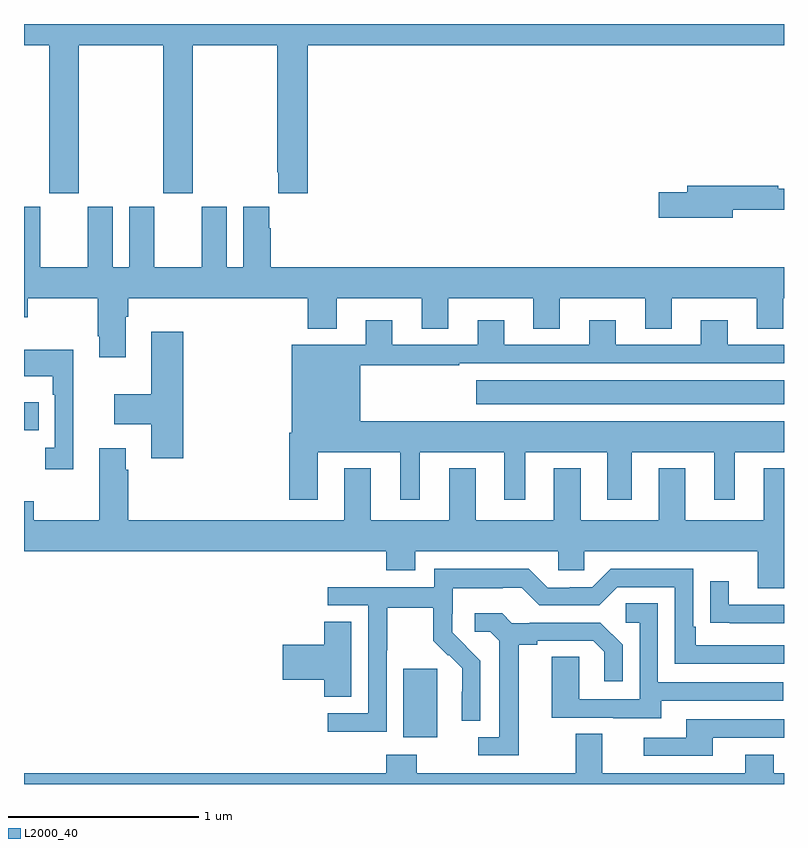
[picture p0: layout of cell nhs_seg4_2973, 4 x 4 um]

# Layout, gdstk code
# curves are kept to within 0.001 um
import gdstk
lib = gdstk.Library(unit=1e-6, precision=1e-09)
def R(c, l, rs):  # rectangles x0, y0, x1, y1
    for r in rs: c.add(gdstk.rectangle(r[:2], r[2:], *l))
def P(c, l, *ps):  # polygons
    for p in ps: c.add(gdstk.Polygon(p, *l))
L2000_40 = (2000, 40)

nhs_seg4_2973 = lib.new_cell('nhs_seg4_2973')
R(nhs_seg4_2973, L2000_40, [(268.997,825.146,269.176,825.507), (267,826.762,267.077,826.909), (269.379,826.898,271,827.026)])
P(nhs_seg4_2973, L2000_40, [(271,828.9),(267,828.9),(267,828.788),(267.133,828.788),(267.133,828.009),(267.288,828.009),(267.288,828.788),(267.733,828.788),(267.733,828.009),(267.888,828.009),(267.888,828.788),(268.333,828.788),(268.333,828.121),(268.337,828.121),(268.337,828.009),(268.493,828.009),(268.493,828.788),(271,828.788)],
  [(270.73,827.922),(271,827.922),(271,828.032),(270.971,828.032),(270.971,828.05),(270.491,828.05),(270.491,828.014),(270.342,828.014),(270.342,827.879),(270.73,827.879)],
  [(268.298,827.825),(268.291,827.825),(268.291,827.938),(268.154,827.938),(268.154,827.62),(268.066,827.62),(268.066,827.938),(267.935,827.938),(267.935,827.62),(267.685,827.62),(267.685,827.938),(267.554,827.938),(267.554,827.62),(267.466,827.62),(267.466,827.938),(267.335,827.938),(267.335,827.62),(267.085,827.62),(267.085,827.938),(267,827.938),(267,827.357),(267.021,827.357),(267.021,827.456),(267.388,827.456),(267.388,827.257),(267.395,827.257),(267.395,827.145),(267.535,827.145),(267.535,827.36),(267.548,827.36),(267.548,827.456),(268.493,827.456),(268.493,827.297),(268.645,827.297),(268.645,827.456),(269.093,827.456),(269.093,827.296),(269.233,827.296),(269.233,827.456),(269.681,827.456),(269.681,827.296),(269.821,827.296),(269.821,827.456),(270.269,827.456),(270.269,827.296),(270.409,827.296),(270.409,827.456),(270.857,827.456),(270.857,827.296),(270.997,827.296),(270.997,827.456),(271,827.456),(271,827.62),(268.298,827.62)],
  [(268.546,826.646),(268.979,826.646),(268.979,826.395),(269.083,826.395),(269.083,826.646),(269.528,826.646),(269.528,826.395),(269.638,826.395),(269.638,826.646),(270.071,826.646),(270.071,826.395),(270.199,826.395),(270.199,826.646),(270.632,826.646),(270.632,826.395),(270.742,826.395),(270.742,826.646),(271,826.646),(271,826.81),(268.771,826.81),(268.771,827.103),(269.291,827.103),(269.291,827.115),(271,827.115),(271,827.211),(270.703,827.211),(270.703,827.341),(270.563,827.341),(270.563,827.211),(270.115,827.211),(270.115,827.341),(269.975,827.341),(269.975,827.211),(269.527,827.211),(269.527,827.341),(269.387,827.341),(269.387,827.211),(268.939,827.211),(268.939,827.341),(268.799,827.341),(268.799,827.212),(268.409,827.212),(268.409,826.75),(268.397,826.75),(268.397,826.395),(268.546,826.395)],
  [(267.839,827.281),(267.671,827.281),(267.671,826.951),(267.474,826.951),(267.474,826.793),(267.671,826.793),(267.671,826.614),(267.839,826.614)],
  [(267.26,827.185),(267,827.185),(267,827.045),(267.15,827.045),(267.15,826.949),(267.162,826.949),(267.162,826.67),(267.111,826.67),(267.111,826.557),(267.26,826.557)],
  [(271,826.561),(270.893,826.561),(270.893,826.288),(270.481,826.288),(270.481,826.561),(270.341,826.561),(270.341,826.288),(269.929,826.288),(269.929,826.561),(269.789,826.561),(269.789,826.288),(269.377,826.288),(269.377,826.561),(269.237,826.561),(269.237,826.288),(268.825,826.288),(268.825,826.561),(268.685,826.561),(268.685,826.288),(267.548,826.288),(267.548,826.553),(267.535,826.553),(267.535,826.666),(267.395,826.666),(267.395,826.288),(267.051,826.288),(267.051,826.387),(267,826.387),(267,826.124),(268.907,826.124),(268.907,826.025),(269.059,826.025),(269.059,826.124),(269.811,826.124),(269.811,826.026),(269.949,826.026),(269.949,826.124),(270.863,826.124),(270.863,825.93),(271,825.93)],
  [(268.908,825.604),(268.911,825.604),(268.911,825.828),(269.155,825.828),(269.155,825.653),(269.232,825.576),(269.235,825.579),(269.306,825.509),(269.306,825.386),(269.304,825.386),(269.304,825.232),(269.4,825.232),(269.4,825.55),(269.254,825.698),(269.254,825.795),(269.256,825.795),(269.256,825.929),(269.519,825.929),(269.519,825.933),(269.619,825.933),(269.712,825.84),(270.027,825.84),(270.123,825.936),(270.426,825.936),(270.426,825.534),(271,825.534),(271,825.63),(270.535,825.63),(270.535,825.727),(270.522,825.727),(270.522,826.032),(270.087,826.032),(269.991,825.936),(269.873,825.936),(269.873,825.933),(269.757,825.933),(269.657,826.033),(269.16,826.033),(269.16,825.936),(268.599,825.936),(268.599,825.84),(268.812,825.84),(268.812,825.273),(268.599,825.273),(268.599,825.175),(268.908,825.175)],
  [(271,825.843),(270.709,825.843),(270.709,825.967),(270.613,825.967),(270.613,825.748),(270.715,825.748),(270.715,825.747),(271,825.747)],
  [(270.355,825.339),(270.995,825.339),(270.995,825.435),(270.336,825.435),(270.336,825.851),(270.168,825.851),(270.168,825.75),(270.24,825.75),(270.24,825.345),(269.922,825.345),(269.922,825.569),(269.777,825.569),(269.777,825.249),(270.101,825.249),(270.101,825.245),(270.355,825.245)],
  [(269.605,825.632),(269.701,825.632),(269.701,825.654),(269.996,825.654),(270.053,825.597),(270.053,825.441),(270.15,825.441),(270.15,825.634),(270.034,825.75),(269.662,825.75),(269.662,825.747),(269.568,825.747),(269.516,825.799),(269.373,825.799),(269.373,825.702),(269.454,825.702),(269.501,825.655),(269.501,825.147),(269.391,825.147),(269.391,825.051),(269.605,825.051)],
  [(268.723,825.755),(268.58,825.755),(268.58,825.632),(268.362,825.632),(268.362,825.449),(268.58,825.449),(268.58,825.358),(268.723,825.358)],
  [(270.625,825.144),(271,825.144),(271,825.24),(270.485,825.24),(270.485,825.144),(270.261,825.144),(270.261,825.048),(270.625,825.048)],
  [(271,824.956),(270.945,824.956),(270.945,825.055),(270.797,825.055),(270.797,824.956),(270.043,824.956),(270.043,825.164),(269.903,825.164),(269.903,824.956),(269.067,824.956),(269.067,825.055),(268.907,825.055),(268.907,824.956),(267,824.956),(267,824.9),(271,824.9)])

lib.write_gds('nhs_seg4_2973.gds')
